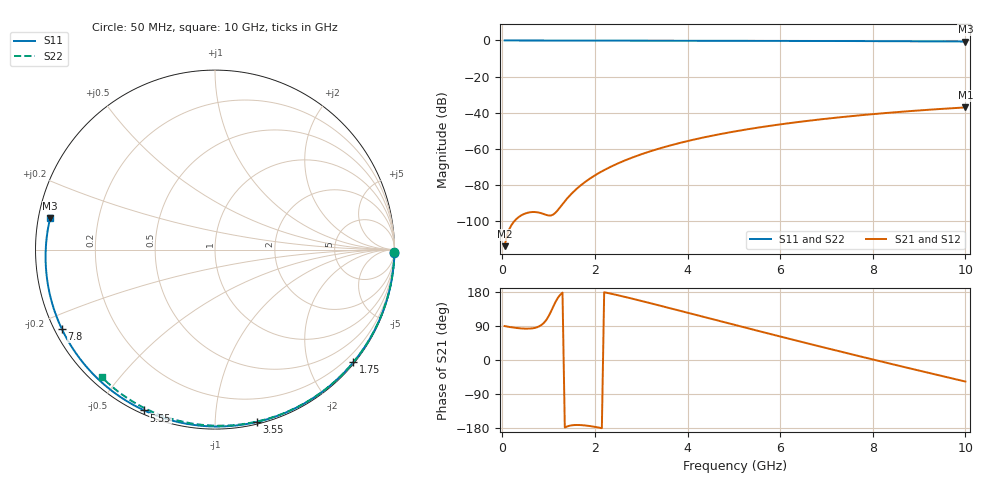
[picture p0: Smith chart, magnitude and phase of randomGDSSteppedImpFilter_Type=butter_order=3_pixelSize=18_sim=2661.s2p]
! freq	dB(S11)	phase(S11)	dB(S12)	phase(S12)
!  dB(S21)	phase(S21)	dB(S22)	phase(S22)
!S-par simulation data
#  GHz  S  DB  R 50
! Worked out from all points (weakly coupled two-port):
!   200 points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, 50 MHz to 10 GHz, reference 50 ohm
!   highest |S21| = -37.05 dB at 10 GHz (marker M1); lowest = -113.8 dB at 50 MHz (marker M2)
!   lowest |S11| = -0.6 dB at 10 GHz (marker M3), VSWR 29.85, Z = 1.69 + j4.74 ohm
!   |S11| at or under -10 dB: nowhere
!   |S22| runs from -0.4 to 0.0 dB; largest |S21 - S12| = 0
!   S11 on the Smith chart (normalised r, x): 50 MHz: open; 1.75 GHz: 0.03, -2.81; 3.55 GHz: 0.02, -1.27; 5.55 GHz: 0.02, -0.65; 7.8 GHz: 0.02, -0.24; 10 GHz: 0.03, +0.09
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0.05  -0.00 -1.2  -113.82 89.6  -113.82 89.6  -0.00 -0.8
0.45  -0.01 -10.2  -96.23 83.0  -96.23 83.0  -0.01 -6.8
0.85  -0.02 -19.2  -95.66 92.9  -95.66 92.9  -0.02 -12.8
1.25  -0.04 -28.2  -92.22 172.1  -92.22 172.1  -0.02 -18.8
1.7  -0.05 -38.0  -80.04 -171.8  -80.04 -171.8  -0.03 -25.5
1.75  -0.05 -39.1  -79.03 -172.2  -79.03 -172.2  -0.03 -26.2
2.05  -0.06 -45.6  -73.88 -177.5  -73.88 -177.5  -0.04 -30.6
2.25  -0.06 -49.8  -71.06 177.6  -71.06 177.6  -0.04 -33.5
2.45  -0.07 -54.1  -68.58 172.2  -68.58 172.2  -0.05 -36.4
2.9  -0.08 -63.4  -63.90 159.0  -63.90 159.0  -0.06 -42.9
3.4  -0.10 -73.5  -59.72 143.6  -59.72 143.6  -0.07 -49.9
3.55  -0.10 -76.4  -58.63 138.9  -58.63 138.9  -0.07 -52.0
4.3  -0.13 -90.9  -53.93 115.3  -53.93 115.3  -0.09 -62.3
5.05  -0.16 -104.8  -50.20 91.6  -50.20 91.6  -0.11 -72.3
5.55  -0.18 -113.8  -48.11 76.0  -48.11 76.0  -0.13 -78.7
6.1  -0.22 -123.4  -46.09 58.9  -46.09 58.9  -0.15 -85.7
6.7  -0.26 -133.8  -44.16 40.5  -44.16 40.5  -0.18 -93.1
7.25  -0.30 -143.1  -42.61 23.8  -42.61 23.8  -0.21 -99.8
7.8  -0.34 -152.5  -41.23 7.4  -41.23 7.4  -0.25 -106.3
8.35  -0.40 -161.8  -40.00 -8.9  -40.00 -8.9  -0.29 -112.7
9.2  -0.49 -176.5  -38.35 -33.8  -38.35 -33.8  -0.36 -122.5
10  -0.58 169.2  -37.05 -56.8  -37.05 -56.8  -0.45 -131.6
